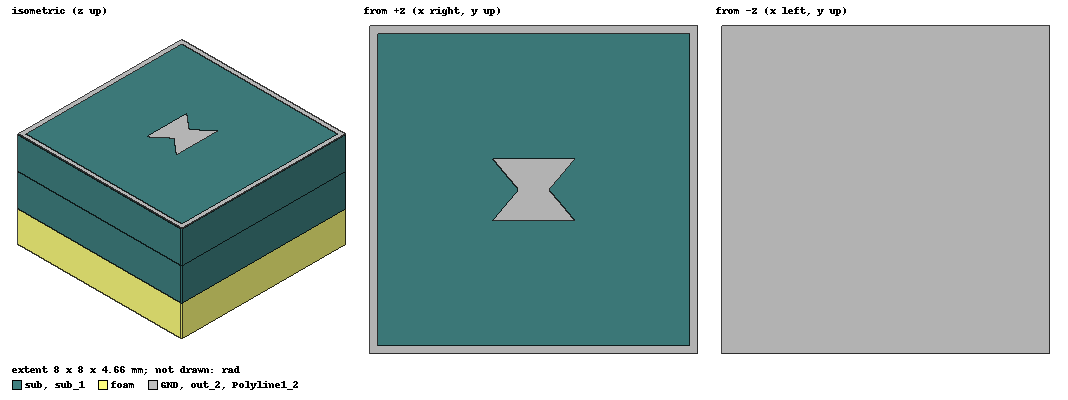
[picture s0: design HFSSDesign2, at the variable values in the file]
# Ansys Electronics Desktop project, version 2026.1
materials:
  vacuum: permittivity=1
  FR4_epoxy: permittivity=4.4 dielectric_loss_tangent=0.02
  copper: permeability=0.999991 conductivity=58000000
  RF2203: permittivity=1.06 dielectric_loss_tangent=0.001

design HFSSDesign2 (HFSS, HFSS Modal Network, model units mm)
options: Calculate_Lossy_Dielectrics Save_Adaptive_support_files
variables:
  p = 8mm
  h = 1.58mm
  u = 0.2mm
  lambda = 30mm
  he = 1.5mm
  a = 2mm
  b = 0.75*a
  an = 50deg
  c = b/(2*tan(an))
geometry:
  sub [FR4_epoxy] = box(corner=(-p/2, -p/2, 0), size=(p, p, h))
  rad [vacuum] = box(corner=(-p/2, -p/2, -lambda/4-he), size=(p, p, he+2*h+lambda/2))
  foam [RF2203] = box(corner=(-p/2, -p/2, 0), size=(p, p, -he))
  out = rectangle(corner=(-p/2, -p/2, h), x_size=p, y_size=p)
  out1 = rectangle(corner=(-p/2+u, -p/2+u, h), x_size=p-2*u, y_size=p-2*u)
  out.subtract(out1)
  out_1 = out.duplicate_along_line(step=(0mm, 0mm, -h), total=2)
  GND = rectangle(corner=(-p/2, -p/2, -he), x_size=p, y_size=p)
  Polyline1 = polyline(z=h, xy: (-a/2, b/2) (a/2, b/2) (a/2-c, 0mm) (a/2, -b/2) (-a/2, -b/2) (-a/2+c, 0mm) (-a/2, b/2), closed, covered)
  Polyline1_1 = Polyline1.duplicate_along_line(step=(0mm, 0mm, -h), total=2)
  out_2 = out.duplicate_along_line(step=(0mm, 0mm, h), total=2)
  Polyline1_2 = Polyline1.duplicate_along_line(step=(0mm, 0mm, h), total=2)
  sub_1 [FR4_epoxy] = sub.duplicate_along_line(step=(0mm, 0mm, h), total=2)
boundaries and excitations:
  Master1: Primary Faces=rad.face(+x) CoordSysVector{(4, -4, -9) -> (4, 4, -9)} ReverseV
  Slave1: Secondary Faces=rad.face(-x) CoordSysVector{(-4, -4, -9) -> (-4, 4, -9)} primary=Master1 PhaseDelay=UseScanAngle Phi=0deg Theta=0deg
  Master2: Primary Faces=rad.face(+y) CoordSysVector{(4, 4, -9) -> (-4, 4, -9)} ReverseV
  Slave2: Secondary Faces=rad.face(-y) CoordSysVector{(4, -4, -9) -> (-4, -4, -9)} primary=Master2 PhaseDelay=UseScanAngle Phi=0deg Theta=0deg
  PerfE1: Perfect E Objects=[GND, out, out_1, Polyline1, Polyline1_1]
  PerfE2: Perfect E Objects=[out_2, Polyline1_2]
  FloquetPort1: Floquet Port Faces=rad.face(+z) NumModes=2 DeembedDist=lambda/4 Modes{Mode1{CharImp=Zpi} Mode2{CharImp=Zpi}} PhaseDelay=UseScanAngle Phi=0deg Theta=0deg LatticeAVector{(-4, -4, 10.66) -> (4, -4, 10.66)} LatticeBVector{(-4, -4, 10.66) -> (-4, 4, 10.66)} ModesList{Mode{ModeNumber=1 IndexM=0 IndexN=0 KC2=0 PropagationState=Propagating Attenuation=0 PolarizationState=TE AffectsRefinement} Mode{ModeNumber=2 IndexM=0 IndexN=0 KC2=0 PropagationState=Propagating Attenuation=0 PolarizationState=TM AffectsRefinement}}
  FloquetPort2: Floquet Port Faces=rad.face(-z) NumModes=2 DeembedDist=lambda/4 Modes{Mode1{CharImp=Zpi} Mode2{CharImp=Zpi}} PhaseDelay=UseScanAngle Phi=0deg Theta=0deg LatticeAVector{(-4, -4, -9) -> (4, -4, -9)} LatticeBVector{(-4, -4, -9) -> (-4, 4, -9)} ModesList{Mode{ModeNumber=1 IndexM=0 IndexN=0 KC2=0 PropagationState=Propagating Attenuation=0 PolarizationState=TE AffectsRefinement} Mode{ModeNumber=2 IndexM=0 IndexN=0 KC2=0 PropagationState=Propagating Attenuation=0 PolarizationState=TM AffectsRefinement}}
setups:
  Setup1: HfssDriven Frequency=10GHz MaxDeltaS=0.02 MaximumPasses=18 MinimumPasses=1 MinimumConvergedPasses=1 PercentRefinement=30 BasisOrder=1 PortAccuracy=2 DrivenSolverType="Direct Solver"
    sweep Sweep: point 10GHz; SaveSingleField Type=Discrete
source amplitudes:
  FloquetPort1:1: 1 0deg
  FloquetPort1:2, FloquetPort2:1, FloquetPort2:2: 0W 0deg
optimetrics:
  ParametricSetup1: Parametric Sim._Setups=[Setup1]
    sweep a: LIN 2mm 7.5mm 0.1mm
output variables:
  at = a-2*q
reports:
  Phase Vs Dimension: cang_deg(S(FloquetPort1:2,FloquetPort1:2)) vs a on Setup1 : Sweep [a=2mm,2.1mm,2.2mm,2.3mm,2.4mm,2.5mm,2.6mm,2.7mm,2.9mm,3mm,3.1mm,3.2mm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 Freq=all]
  Magnitude Vs Dimension: mag(S(FloquetPort1:2,FloquetPort1:2)) vs a on Setup1 : Sweep [a=2mm,2.1mm,2.2mm,2.3mm,2.4mm,2.5mm,2.6mm,2.7mm,2.9mm,3mm,3.1mm,3.2mm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 Freq=all]
